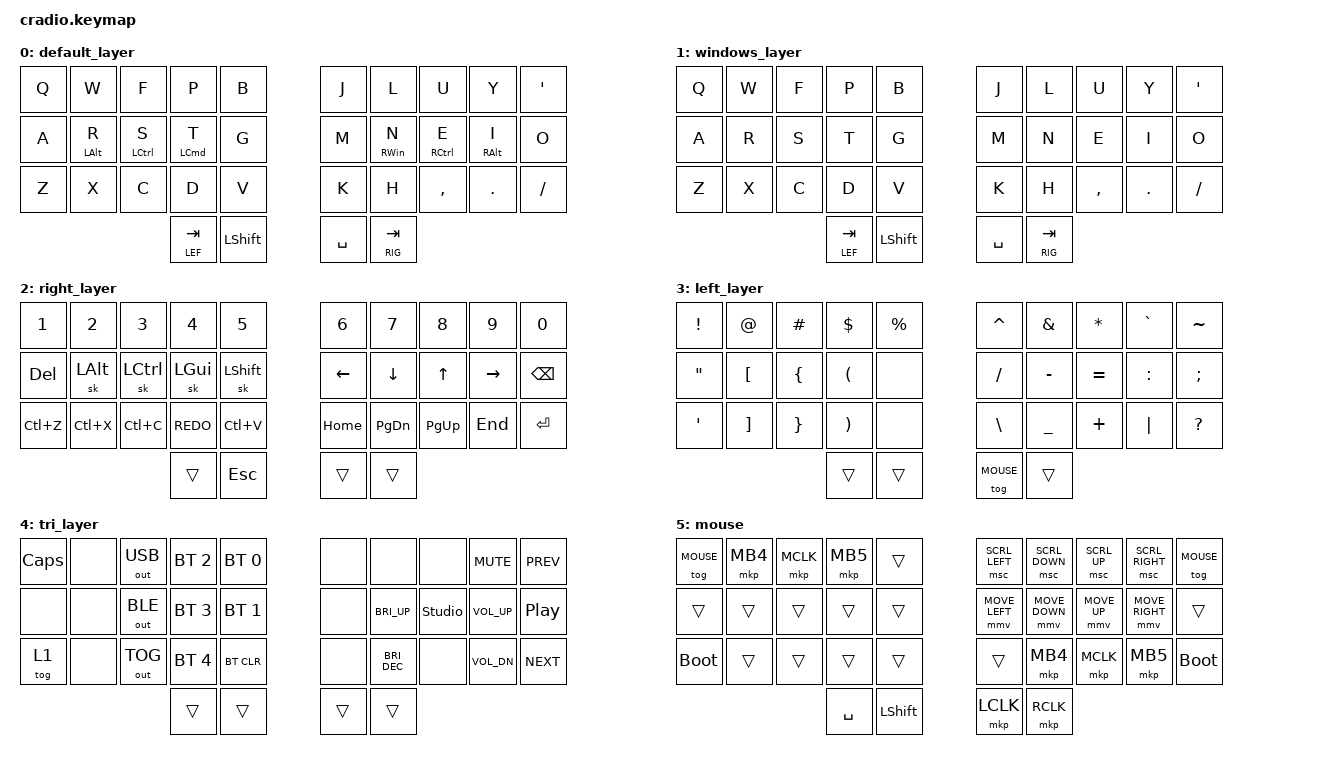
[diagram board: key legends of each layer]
// Copyright (c) 2022 The ZMK Contributors
// SPDX-License-Identifier: MIT

#define ZMK_MOUSE_DEFAULT_MOVE_VAL 2500  // 600
#define ZMK_MOUSE_DEFAULT_SCRL_VAL 20    // 10

#include <dt-bindings/zmk/mouse.h>
#include <behaviors.dtsi>
#include <dt-bindings/zmk/bt.h>
#include <dt-bindings/zmk/keys.h>
#include <dt-bindings/zmk/outputs.h>


#define MAC 0
#define WIN 1
#define RIG 2
#define LEF 3
#define TRI 4
#define MOUSE 5
// Define custom behaviors
&mt {
    flavor = "tap-preferred";
    tapping-term-ms = <200>;    // Adjust this value to change tap timing
    quick-tap-ms = <150>;       // Tap-twice-quickly timing
    hold-trigger-key-positions = <0>;  // Trigger hold immediately when pressing other keys
};

&sk {
    release-after-ms = <2000>;  // Sticky key timeout
    quick-release;              // Release sticky key on next key press
};

/ {
    chosen { zmk,charmap = &charmap_us; };
    &sk {
    	// don't release mods on other mods presses
    	ignore-modifiers;
    };
    behaviors {
        ht: hold_tap {
            label = "hold_tap";
            compatible = "zmk,behavior-hold-tap";
            #binding-cells = <2>;
            flavor = "tap-preferred";
            tapping-term-ms = <220>;
            quick-tap-ms = <150>;
            global-quick-tap;
            bindings = <&kp>, <&kp>;
        };

        sk: sk {
            compatible = "zmk,behavior-sticky-key";
            label = "SK";
            bindings = <&kp>;
            #binding-cells = <1>;
            release-after-ms = <500>;
        };

        mmv {
            acceleration-exponent = <1>;      // 1
            time-to-max-speed-ms = <300>;    // 40
            delay-ms = <0>;                   // 0
        };

        msc {
            acceleration-exponent = <0>;      // 0
            time-to-max-speed-ms = <40>;      // 500
            delay-ms = <0>;                   // 10
        };
        combos {
        
            compatible = "zmk,combos";
        
            // Example: Press Q+W for Escape
            combo_esc {
            timeout-ms = <50>;
            key-positions = <0 1>;
            bindings = <&kp ESC>;
        };
        
        // Example: Press F+P for Tab
        combo_tab {
            timeout-ms = <50>;
            key-positions = <2 3>;
            bindings = <&kp TAB>;
        };

        // Example: Press A+S for Sticky Shift
        combo_sticky_shift {
            timeout-ms = <50>;
            key-positions = <10 11>;
            bindings = <&sk LSHFT>;
        };
    };

    conditional_layers {
        compatible = "zmk,conditional-layers";

        tri_layer {
            if-layers = <2 3>;
            then-layer = <4>;
        };
    };

    keymap {
        compatible = "zmk,keymap";

        default_layer {
            bindings = <
&kp Q  &kp W           &kp F        &kp P        &kp B        &kp J      &kp L            &kp U        &kp Y       &kp SQT
&kp A  &ht LEFT_ALT R  &ht LCTRL S  &ht LCMD T   &kp G        &kp M      &ht RIGHT_WIN N  &ht RCTRL E  &ht RALT I  &kp O
&kp Z  &kp X           &kp C        &kp D        &kp V        &kp K      &kp H            &kp COMMA    &kp DOT     &kp SLASH
                                    &lt LEF TAB  &kp LSHFT    &kp SPACE  &lt RIG TAB
            >;
        };

        windows_layer {
            bindings = <
&kp Q  &kp W  &kp F  &kp P        &kp B        &kp J      &kp L        &kp U      &kp Y    &kp SQT
&kp A  &kp R  &kp S  &kp T        &kp G        &kp M      &kp N        &kp E      &kp I    &kp O
&kp Z  &kp X  &kp C  &kp D        &kp V        &kp K      &kp H        &kp COMMA  &kp DOT  &kp SLASH
                     &lt LEF TAB  &kp LSHFT    &kp SPACE  &lt RIG TAB
            >;
        };

        right_layer {
            bindings = <
&kp N1     &kp N2        &kp N3     &kp N4        &kp N5        &kp N6    &kp N7     &kp N8     &kp N9     &kp N0
&kp DEL    &sk LEFT_ALT  &sk LCTRL  &sk LEFT_GUI  &sk LSHFT     &kp LEFT  &kp DOWN   &kp UP     &kp RIGHT  &kp BACKSPACE
&kp LC(Z)  &kp LC(X)     &kp LC(C)  &kp K_REDO    &kp LC(V)     &kp HOME  &kp PG_DN  &kp PG_UP  &kp END    &kp ENTER
                                    &trans        &kp ESCAPE    &trans    &trans
            >;
        };

        left_layer {
            bindings = <
&kp EXCL  &kp AT    &kp HASH  &kp DLLR  &kp PRCNT    &kp CARET   &kp AMPS   &kp ASTRK  &kp GRAVE  &kp TILDE
&kp DQT   &kp LBKT  &kp LBRC  &kp LPAR  &none        &kp FSLH    &kp MINUS  &kp EQUAL  &kp COLON  &kp SEMI
&kp SQT   &kp RBKT  &kp RBRC  &kp RPAR  &none        &kp BSLH    &kp UNDER  &kp PLUS   &kp PIPE   &kp QMARK
                              &trans    &trans       &tog MOUSE  &trans
            >;
        };

        tri_layer {
            bindings = <
&kp CAPS  &none  &out OUT_USB  &bt BT_SEL 2  &bt BT_SEL 0    &none   &none          &none           &kp C_MUTE    &kp C_PREV
&none     &none  &out OUT_BLE  &bt BT_SEL 3  &bt BT_SEL 1    &none   &kp C_BRI_UP   &studio_unlock  &kp C_VOL_UP  &kp C_PP
&tog 1    &none  &out OUT_TOG  &bt BT_SEL 4  &bt BT_CLR      &none   &kp C_BRI_DEC  &none           &kp C_VOL_DN  &kp C_NEXT
                               &trans        &trans          &trans  &trans
            >;
        };

        mouse {
            bindings = <
&tog MOUSE   &mkp MB4  &mkp MCLK  &mkp MB5   &trans        &msc SCRL_LEFT  &msc SCRL_DOWN  &msc SCRL_UP  &msc SCRL_RIGHT  &tog MOUSE
&trans       &trans    &trans     &trans     &trans        &mmv MOVE_LEFT  &mmv MOVE_DOWN  &mmv MOVE_UP  &mmv MOVE_RIGHT  &trans
&bootloader  &trans    &trans     &trans     &trans        &trans          &mkp MB4        &mkp MCLK     &mkp MB5         &bootloader
                                  &kp SPACE  &kp LSHIFT    &mkp LCLK       &mkp RCLK
            >;
        };
    };
};
